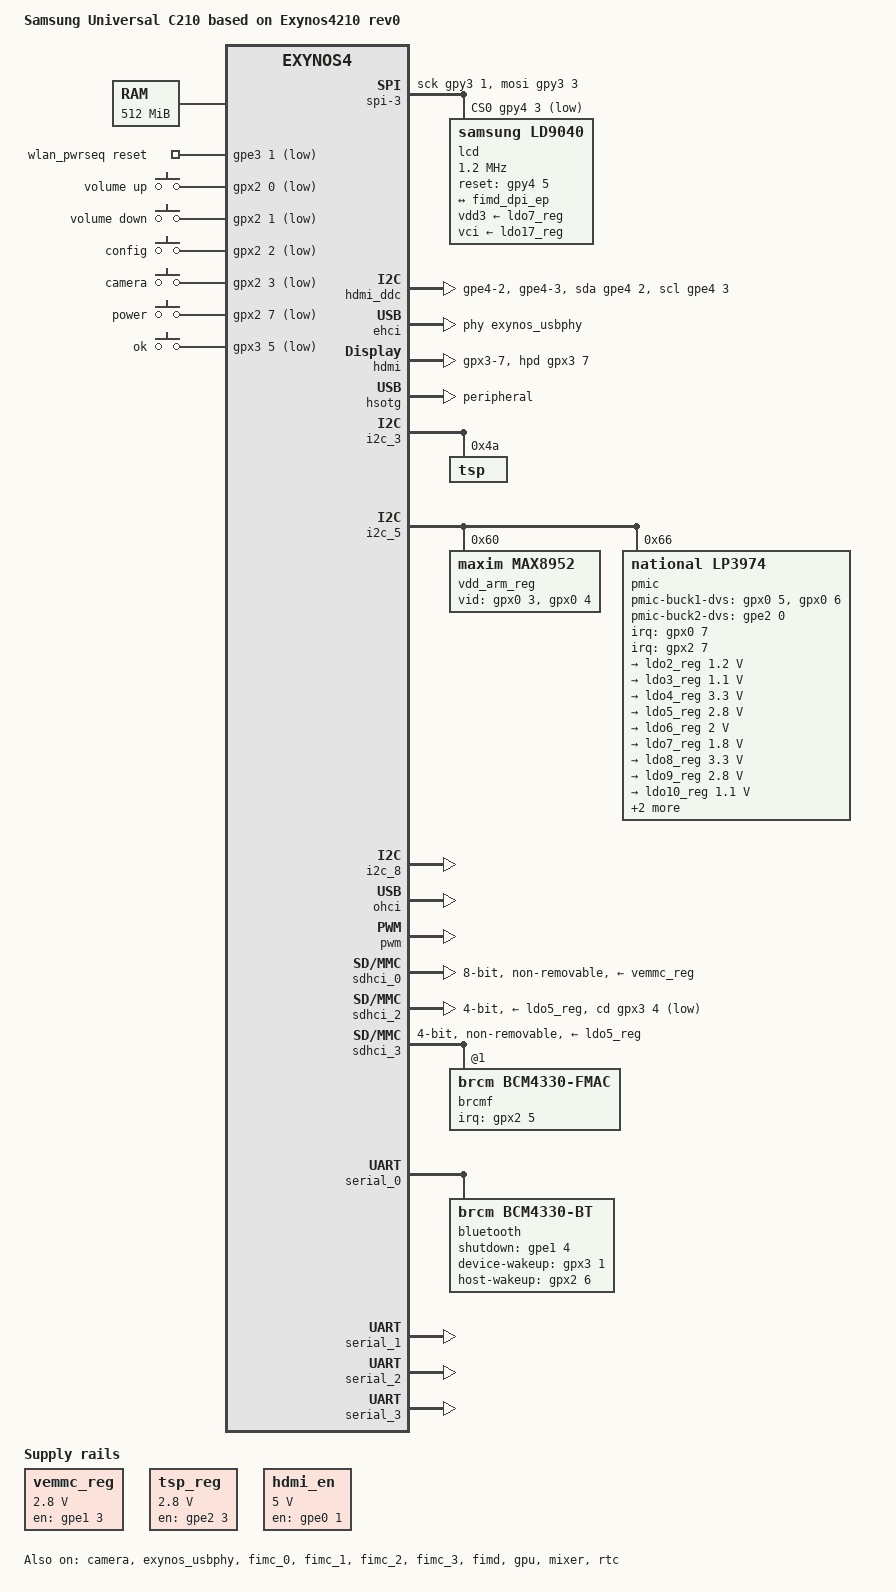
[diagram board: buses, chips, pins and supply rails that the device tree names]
// SPDX-License-Identifier: GPL-2.0
/*
 * Samsung's Exynos4210 based Universal C210 board device tree source
 *
 * Copyright (c) 2012-2013 Samsung Electronics Co., Ltd.
 *		http://www.samsung.com
 *
 * Device tree source file for Samsung's Universal C210 board which is based on
 * Samsung's Exynos4210 rev0 SoC.
 */

/dts-v1/;
#include "exynos4210.dtsi"
#include <dt-bindings/gpio/gpio.h>

/ {
	model = "Samsung Universal C210 based on Exynos4210 rev0";
	compatible = "samsung,universal_c210", "samsung,exynos4210", "samsung,exynos4";

	memory@40000000 {
		device_type = "memory";
		reg =  <0x40000000 0x10000000
			0x50000000 0x10000000>;
	};

	chosen {
		bootargs = "root=/dev/mmcblk0p5 rw rootwait earlyprintk panic=5 maxcpus=1";
		stdout-path = "serial2:115200n8";
	};


	fixed-rate-clocks {
		xxti {
			compatible = "samsung,clock-xxti";
			clock-frequency = <0>;
		};

		xusbxti {
			compatible = "samsung,clock-xusbxti";
			clock-frequency = <24000000>;
		};

		pmic_ap_clk: pmic-ap-clk {
			/* Workaround for missing clock on PMIC */
			compatible = "fixed-clock";
			#clock-cells = <0>;
			clock-frequency = <32768>;
		};
	};

	vemmc_reg: voltage-regulator {
		compatible = "regulator-fixed";
		regulator-name = "VMEM_VDD_2_8V";
		regulator-min-microvolt = <2800000>;
		regulator-max-microvolt = <2800000>;
		gpio = <&gpe1 3 GPIO_ACTIVE_HIGH>;
		enable-active-high;
	};

	wlan_pwrseq: sdhci3-pwrseq {
		compatible = "mmc-pwrseq-simple";
		reset-gpios = <&gpe3 1 GPIO_ACTIVE_LOW>;
	};

	gpio-keys {
		compatible = "gpio-keys";

		vol-up-key {
			gpios = <&gpx2 0 GPIO_ACTIVE_LOW>;
			linux,code = <115>;
			label = "volume up";
			debounce-interval = <1>;
		};

		vol-down-key {
			gpios = <&gpx2 1 GPIO_ACTIVE_LOW>;
			linux,code = <114>;
			label = "volume down";
			debounce-interval = <1>;
		};

		config-key {
			gpios = <&gpx2 2 GPIO_ACTIVE_LOW>;
			linux,code = <171>;
			label = "config";
			debounce-interval = <1>;
			wakeup-source;
		};

		camera-key {
			gpios = <&gpx2 3 GPIO_ACTIVE_LOW>;
			linux,code = <212>;
			label = "camera";
			debounce-interval = <1>;
		};

		power-key {
			gpios = <&gpx2 7 GPIO_ACTIVE_LOW>;
			linux,code = <116>;
			label = "power";
			debounce-interval = <1>;
			wakeup-source;
		};

		ok-key {
			gpios = <&gpx3 5 GPIO_ACTIVE_LOW>;
			linux,code = <352>;
			label = "ok";
			debounce-interval = <1>;
		};
	};

	tsp_reg: voltage-regulator {
		compatible = "regulator-fixed";
		regulator-name = "TSP_2_8V";
		regulator-min-microvolt = <2800000>;
		regulator-max-microvolt = <2800000>;
		gpio = <&gpe2 3 GPIO_ACTIVE_HIGH>;
		enable-active-high;
	};

	spi-3 {
		compatible = "spi-gpio";
		#address-cells = <1>;
		#size-cells = <0>;

		sck-gpios = <&gpy3 1 GPIO_ACTIVE_HIGH>;
		mosi-gpios = <&gpy3 3 GPIO_ACTIVE_HIGH>;
		num-chipselects = <1>;
		cs-gpios = <&gpy4 3 GPIO_ACTIVE_LOW>;

		lcd@0 {
			compatible = "samsung,ld9040";
			reg = <0>;
			vdd3-supply = <&ldo7_reg>;
			vci-supply = <&ldo17_reg>;
			reset-gpios = <&gpy4 5 GPIO_ACTIVE_HIGH>;
			spi-max-frequency = <1200000>;
			power-on-delay = <10>;
			reset-delay = <10>;
			panel-width-mm = <90>;
			panel-height-mm = <154>;
			display-timings {
				timing {
					clock-frequency = <23492370>;
					hactive = <480>;
					vactive = <800>;
					hback-porch = <16>;
					hfront-porch = <16>;
					vback-porch = <2>;
					vfront-porch = <28>;
					hsync-len = <2>;
					vsync-len = <1>;
					hsync-active = <0>;
					vsync-active = <0>;
					de-active = <0>;
					pixelclk-active = <0>;
				};
			};
			port {
				lcd_ep: endpoint {
					remote-endpoint = <&fimd_dpi_ep>;
				};
			};
		};
	};

	hdmi_en: voltage-regulator-hdmi-5v {
		compatible = "regulator-fixed";
		regulator-name = "HDMI_5V";
		regulator-min-microvolt = <5000000>;
		regulator-max-microvolt = <5000000>;
		gpio = <&gpe0 1 GPIO_ACTIVE_HIGH>;
		enable-active-high;
	};

	hdmi_ddc: i2c-ddc {
		compatible = "i2c-gpio";
		sda-gpios = <&gpe4 2 (GPIO_ACTIVE_HIGH | GPIO_OPEN_DRAIN)>;
		scl-gpios = <&gpe4 3 (GPIO_ACTIVE_HIGH | GPIO_OPEN_DRAIN)>;
		i2c-gpio,delay-us = <100>;
		#address-cells = <1>;
		#size-cells = <0>;

		pinctrl-0 = <&i2c_ddc_bus>;
		pinctrl-names = "default";
		status = "okay";
	};
};

&camera {
	status = "okay";

	pinctrl-names = "default";
	pinctrl-0 = <>;
};

&cpu0 {
	cpu0-supply = <&vdd_arm_reg>;
};

&cpu_thermal {
	cooling-maps {
		map0 {
			/* Corresponds to 800MHz */
			cooling-device = <&cpu0 2 2>;
		};
		map1 {
			/* Corresponds to 200MHz */
			cooling-device = <&cpu0 4 4>;
		};
	};
};

&ehci {
	status = "okay";
	phys = <&exynos_usbphy 1>;
	phy-names = "host";
};

&exynos_usbphy {
	status = "okay";
	vbus-supply = <&safeout1_reg>;
};

&fimc_0 {
	status = "okay";
	assigned-clocks = <&clock CLK_MOUT_FIMC0>,
			  <&clock CLK_SCLK_FIMC0>;
	assigned-clock-parents = <&clock CLK_SCLK_MPLL>;
	assigned-clock-rates = <0>, <160000000>;
};

&fimc_1 {
	status = "okay";
	assigned-clocks = <&clock CLK_MOUT_FIMC1>,
			  <&clock CLK_SCLK_FIMC1>;
	assigned-clock-parents = <&clock CLK_SCLK_MPLL>;
	assigned-clock-rates = <0>, <160000000>;
};

&fimc_2 {
	status = "okay";
	assigned-clocks = <&clock CLK_MOUT_FIMC2>,
			  <&clock CLK_SCLK_FIMC2>;
	assigned-clock-parents = <&clock CLK_SCLK_MPLL>;
	assigned-clock-rates = <0>, <160000000>;
};

&fimc_3 {
	status = "okay";
	assigned-clocks = <&clock CLK_MOUT_FIMC3>,
			  <&clock CLK_SCLK_FIMC3>;
	assigned-clock-parents = <&clock CLK_SCLK_MPLL>;
	assigned-clock-rates = <0>, <160000000>;
};

&fimd {
	pinctrl-0 = <&lcd_clk>, <&lcd_data24>;
	pinctrl-names = "default";
	status = "okay";
	samsung,invert-vden;
	samsung,invert-vclk;
	#address-cells = <1>;
	#size-cells = <0>;
	port@3 {
		reg = <3>;
		fimd_dpi_ep: endpoint {
			remote-endpoint = <&lcd_ep>;
		};
	};
};

&gpu {
	mali-supply = <&buck2_reg>;
	status = "okay";
};

&hdmi {
	hpd-gpios = <&gpx3 7 GPIO_ACTIVE_HIGH>;
	pinctrl-names = "default";
	pinctrl-0 = <&hdmi_hpd>;
	hdmi-en-supply = <&hdmi_en>;
	vdd-supply = <&ldo3_reg>;
	vdd_osc-supply = <&ldo4_reg>;
	vdd_pll-supply = <&ldo3_reg>;
	ddc = <&hdmi_ddc>;
	status = "okay";
};

&hsotg {
	vusb_d-supply = <&ldo3_reg>;
	vusb_a-supply = <&ldo8_reg>;
	dr_mode = "peripheral";
	status = "okay";
};

&i2c_3 {
	samsung,i2c-sda-delay = <100>;
	samsung,i2c-slave-addr = <0x10>;
	samsung,i2c-max-bus-freq = <100000>;
	pinctrl-0 = <&i2c3_bus>;
	pinctrl-names = "default";
	status = "okay";

	tsp@4a {
		/* TBD: Atmel maXtouch touchscreen */
		reg = <0x4a>;
	};
};

&i2c_5 {
	samsung,i2c-sda-delay = <100>;
	samsung,i2c-slave-addr = <0x10>;
	samsung,i2c-max-bus-freq = <100000>;
	pinctrl-0 = <&i2c5_bus>;
	pinctrl-names = "default";
	status = "okay";

	vdd_arm_reg: pmic@60 {
		compatible = "maxim,max8952";
		reg = <0x60>;

		max8952,vid-gpios = <&gpx0 3 GPIO_ACTIVE_HIGH>,
				    <&gpx0 4 GPIO_ACTIVE_HIGH>;
		max8952,default-mode = <0>;
		max8952,dvs-mode-microvolt = <1250000>, <1200000>,
						<1050000>, <950000>;
		max8952,sync-freq = <0>;
		max8952,ramp-speed = <0>;

		regulator-name = "VARM_1.2V_C210";
		regulator-min-microvolt = <770000>;
		regulator-max-microvolt = <1400000>;
		regulator-always-on;
		regulator-boot-on;
	};

	pmic@66 {
		compatible = "national,lp3974";
		interrupts-extended = <&gpx0 7 0>, <&gpx2 7 0>;
		pinctrl-names = "default";
		pinctrl-0 = <&lp3974_irq>;
		reg = <0x66>;

		max8998,pmic-buck1-default-dvs-idx = <0>;
		max8998,pmic-buck1-dvs-gpios = <&gpx0 5 GPIO_ACTIVE_HIGH>,
						<&gpx0 6 GPIO_ACTIVE_HIGH>;
		max8998,pmic-buck1-dvs-voltage = <1100000>, <1000000>,
						<1100000>, <1000000>;

		max8998,pmic-buck2-default-dvs-idx = <0>;
		max8998,pmic-buck2-dvs-gpio = <&gpe2 0 GPIO_ACTIVE_HIGH>;
		max8998,pmic-buck2-dvs-voltage = <1200000>, <1100000>;

		regulators {
			ldo2_reg: LDO2 {
				regulator-name = "VALIVE_1.2V";
				regulator-min-microvolt = <1200000>;
				regulator-max-microvolt = <1200000>;
				regulator-always-on;
			};

			ldo3_reg: LDO3 {
				regulator-name = "VUSB+MIPI_1.1V";
				regulator-min-microvolt = <1100000>;
				regulator-max-microvolt = <1100000>;
				regulator-always-on;
			};

			ldo4_reg: LDO4 {
				regulator-name = "VADC_3.3V";
				regulator-min-microvolt = <3300000>;
				regulator-max-microvolt = <3300000>;
			};

			ldo5_reg: LDO5 {
				regulator-name = "VTF_2.8V";
				regulator-min-microvolt = <2800000>;
				regulator-max-microvolt = <2800000>;
			};

			ldo6_reg: LDO6 {
				regulator-name = "LDO6";
				regulator-min-microvolt = <2000000>;
				regulator-max-microvolt = <2000000>;
			};

			ldo7_reg: LDO7 {
				regulator-name = "VLCD+VMIPI_1.8V";
				regulator-min-microvolt = <1800000>;
				regulator-max-microvolt = <1800000>;
			};

			ldo8_reg: LDO8 {
				regulator-name = "VUSB+VDAC_3.3V";
				regulator-min-microvolt = <3300000>;
				regulator-max-microvolt = <3300000>;
				regulator-always-on;
			};

			ldo9_reg: LDO9 {
				regulator-name = "VCC_2.8V";
				regulator-min-microvolt = <2800000>;
				regulator-max-microvolt = <2800000>;
				regulator-always-on;
			};

			ldo10_reg: LDO10 {
				regulator-name = "VPLL_1.1V";
				regulator-min-microvolt = <1100000>;
				regulator-max-microvolt = <1100000>;
				regulator-boot-on;
				regulator-always-on;
			};

			ldo11_reg: LDO11 {
				regulator-name = "CAM_AF_3.3V";
				regulator-min-microvolt = <3300000>;
				regulator-max-microvolt = <3300000>;
			};

			ldo12_reg: LDO12 {
				regulator-name = "PS_2.8V";
				regulator-min-microvolt = <2800000>;
				regulator-max-microvolt = <2800000>;
			};

			ldo13_reg: LDO13 {
				regulator-name = "VHIC_1.2V";
				regulator-min-microvolt = <1200000>;
				regulator-max-microvolt = <1200000>;
			};

			ldo14_reg: LDO14 {
				regulator-name = "CAM_I_HOST_1.8V";
				regulator-min-microvolt = <1800000>;
				regulator-max-microvolt = <1800000>;
			};

			ldo15_reg: LDO15 {
				regulator-name = "CAM_S_DIG+FM33_CORE_1.2V";
				regulator-min-microvolt = <1200000>;
				regulator-max-microvolt = <1200000>;
			};

			ldo16_reg: LDO16 {
				regulator-name = "CAM_S_ANA_2.8V";
				regulator-min-microvolt = <2800000>;
				regulator-max-microvolt = <2800000>;
			};

			ldo17_reg: LDO17 {
				regulator-name = "VCC_3.0V_LCD";
				regulator-min-microvolt = <3000000>;
				regulator-max-microvolt = <3000000>;
			};

			buck1_reg: BUCK1 {
				regulator-name = "VINT_1.1V";
				regulator-min-microvolt = <750000>;
				regulator-max-microvolt = <1500000>;
				regulator-boot-on;
				regulator-always-on;
			};

			buck2_reg: BUCK2 {
				regulator-name = "VG3D_1.1V";
				regulator-min-microvolt = <750000>;
				regulator-max-microvolt = <1500000>;
				regulator-boot-on;
			};

			buck3_reg: BUCK3 {
				regulator-name = "VCC_1.8V";
				regulator-min-microvolt = <1800000>;
				regulator-max-microvolt = <1800000>;
				regulator-always-on;
			};

			buck4_reg: BUCK4 {
				regulator-name = "VMEM_1.2V";
				regulator-min-microvolt = <1200000>;
				regulator-max-microvolt = <1200000>;
				regulator-always-on;
			};

			ap32khz_reg: EN32KHz-AP {
				regulator-name = "32KHz AP";
				regulator-always-on;
			};

			cp32khz_reg: EN32KHz-CP {
				regulator-name = "32KHz CP";
			};

			vichg_reg: ENVICHG {
				regulator-name = "VICHG";
			};

			safeout1_reg: ESAFEOUT1 {
				regulator-name = "SAFEOUT1";
			};

			safeout2_reg: ESAFEOUT2 {
				regulator-name = "SAFEOUT2";
				regulator-boot-on;
			};
		};
	};
};

&i2c_8 {
	status = "okay";
};

&mct {
	compatible = "none";
};

&mdma1 {
	/* Use the secure mdma0 */
	status = "disabled";
};

&mixer {
	status = "okay";
};

&ohci {
	status = "okay";
};

&pinctrl_1 {
	bt_shutdown: bt-shutdown {
		samsung,pins = "gpe1-4";
		samsung,pin-function = <EXYNOS_PIN_FUNC_OUTPUT>;
		samsung,pin-pud = <EXYNOS_PIN_PULL_NONE>;
	};

	bt_host_wakeup: bt-host-wakeup {
		samsung,pins = "gpx2-6";
		samsung,pin-function = <EXYNOS_PIN_FUNC_INPUT>;
		samsung,pin-pud = <EXYNOS_PIN_PULL_NONE>;
	};

	bt_device_wakeup: bt-device-wakeup {
		samsung,pins = "gpx3-1";
		samsung,pin-function = <EXYNOS_PIN_FUNC_OUTPUT>;
		samsung,pin-pud = <EXYNOS_PIN_PULL_NONE>;
	};

	lp3974_irq: lp3974-irq {
		samsung,pins = "gpx0-7", "gpx2-7";
		samsung,pin-pud = <EXYNOS_PIN_PULL_NONE>;
	};

	hdmi_hpd: hdmi-hpd {
		samsung,pins = "gpx3-7";
		samsung,pin-pud = <EXYNOS_PIN_PULL_NONE>;
	};
};

&pinctrl_0 {
	i2c_ddc_bus: i2c-ddc-bus {
		samsung,pins = "gpe4-2", "gpe4-3";
		samsung,pin-function = <EXYNOS_PIN_FUNC_2>;
		samsung,pin-pud = <EXYNOS_PIN_PULL_UP>;
		samsung,pin-drv = <EXYNOS4_PIN_DRV_LV1>;
	};
};

&pwm {
	compatible = "samsung,s5p6440-pwm";
	status = "okay";
};

&rtc {
	status = "okay";
	clocks = <&clock CLK_RTC>, <&pmic_ap_clk>;
	clock-names = "rtc", "rtc_src";
};

&sdhci_0 {
	bus-width = <8>;
	non-removable;
	pinctrl-0 = <&sd0_clk &sd0_cmd &sd0_bus8>;
	pinctrl-names = "default";
	vmmc-supply = <&vemmc_reg>;
	status = "okay";
};

&sdhci_2 {
	bus-width = <4>;
	pinctrl-0 = <&sd2_clk &sd2_cmd &sd2_bus4>;
	pinctrl-names = "default";
	vmmc-supply = <&ldo5_reg>;
	cd-gpios = <&gpx3 4 GPIO_ACTIVE_LOW>;
	status = "okay";
};

&sdhci_3 {
	status = "okay";

	#address-cells = <1>;
	#size-cells = <0>;

	non-removable;
	bus-width = <4>;
	mmc-pwrseq = <&wlan_pwrseq>;
	vmmc-supply = <&ldo5_reg>;

	pinctrl-names = "default";
	pinctrl-0 = <&sd3_clk>, <&sd3_cmd>, <&sd3_bus4>;

	brcmf: wifi@1 {
		compatible = "brcm,bcm4330-fmac", "brcm,bcm4329-fmac";
		reg = <1>;
		interrupt-parent = <&gpx2>;
		interrupts = <5 IRQ_TYPE_LEVEL_HIGH>;
		interrupt-names = "host-wake";
	};
};

&serial_0 {
	status = "okay";
	/delete-property/dmas;
	/delete-property/dma-names;
	pinctrl-0 = <&uart0_data &uart0_fctl>;
	pinctrl-names = "default";

	bluetooth {
		compatible = "brcm,bcm4330-bt";
		pinctrl-0 = <&bt_shutdown &bt_device_wakeup &bt_host_wakeup>;
		pinctrl-names = "default";
		shutdown-gpios = <&gpe1 4 GPIO_ACTIVE_HIGH>;
		device-wakeup-gpios = <&gpx3 1 GPIO_ACTIVE_HIGH>;
		host-wakeup-gpios = <&gpx2 6 GPIO_ACTIVE_HIGH>;
	};
};

&serial_1 {
	status = "okay";
	/delete-property/dmas;
	/delete-property/dma-names;
};

&serial_2 {
	status = "okay";
	/delete-property/dmas;
	/delete-property/dma-names;
};

&serial_3 {
	status = "okay";
	/delete-property/dmas;
	/delete-property/dma-names;
};

&soc {
	mdma0: mdma@12840000 {
		compatible = "arm,pl330", "arm,primecell";
		reg = <0x12840000 0x1000>;
		interrupts = <GIC_SPI 34 IRQ_TYPE_LEVEL_HIGH>;
		clocks = <&clock CLK_MDMA>;
		clock-names = "apb_pclk";
		#dma-cells = <1>;
		#dma-channels = <8>;
		#dma-requests = <1>;
		power-domains = <&pd_lcd0>;
	};
};

&sysram {
	smp-sram@0 {
		status = "disabled";
	};

	smp-sram@5000 {
		compatible = "samsung,exynos4210-sysram";
		reg = <0x5000 0x1000>;
	};

	smp-sram@1f000 {
		status = "disabled";
	};
};
